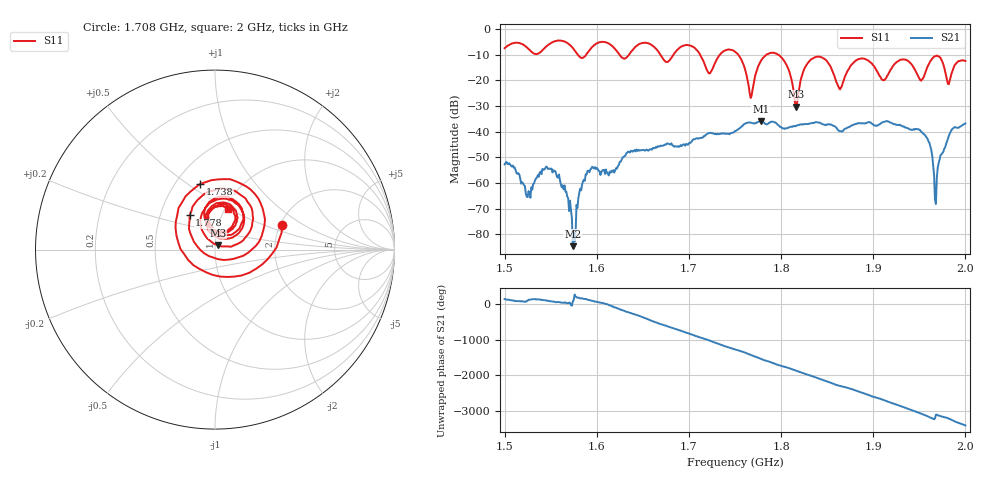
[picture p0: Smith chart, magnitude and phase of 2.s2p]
! NanoVNA-App by SYSJOINT et al v1.1.209 (+OD18)
! Date: 2026-01-21 14:20:21
! Start: 1,5GHz Stop: 2GHz Points: 501
! S-Parameter data: F S11 S21 S12 S22
# Hz S RI R 50
!  Frequency  S11_Real  S11_Imag  S21_Real  S21_Imag  S12_Real  S12_Imag  S22_Real  S22_Imag
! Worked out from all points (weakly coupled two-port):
!   501 points, 1.5 GHz to 2 GHz, reference 50 ohm
!   highest |S21| = -35.81 dB at 1.778 GHz (marker M1); lowest = -84.6 dB at 1.574 GHz (marker M2)
!   lowest |S11| = -30.3 dB at 1.816 GHz (marker M3), VSWR 1.06, Z = 51.5 + j2.73 ohm
!   |S11| at or under -10 dB: 1.712 GHz to 1.734 GHz (21.54 MHz wide, 1.25 % of centre); 1.754 GHz to 1.784 GHz (30.65 MHz wide, 1.73 % of centre); 1.797 GHz to end of sweep (the widest 3 of 6)
!   S12 and S22 are empty: the file has one direction only
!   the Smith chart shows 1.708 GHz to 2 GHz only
!   S11 on the Smith chart (normalised r, x): 1.708 GHz: 2.05, +0.66; 1.738 GHz: 0.66, +0.56; 1.778 GHz: 0.70, +0.29; 2 GHz: 1.03, +0.50
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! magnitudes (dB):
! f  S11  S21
! 1.5 GHz  -7.5  -52.7
! 1.526 GHz  -7.8  -63.2
! 1.553 GHz  -5.0  -55.1
! 1.574 GHz  -7.4  -84.6
! 1.584 GHz  -11.3  -60.8
! 1.667 GHz  -8.9  -45.8
! 1.708 GHz  -8.0  -42.6
! 1.722 GHz  -17.3  -40.6
! 1.738 GHz  -8.5  -40.6
! 1.75 GHz  -8.8  -39.8
! 1.767 GHz  -26.9  -36.5
! 1.778 GHz  -12.5  -35.8
! 1.801 GHz  -11.3  -38.5
! 1.816 GHz  -30.3  -37.8
! 1.834 GHz  -11.6  -36.6
! 1.864 GHz  -23.5  -39.8
! 1.885 GHz  -11.7  -36.7
! 1.917 GHz  -17.1  -36.1
! 1.957 GHz  -16.4  -41.8
! 1.968 GHz  -10.5  -68.2
! 1.982 GHz  -21.5  -41.7
! 2 GHz  -12.5  -36.8
